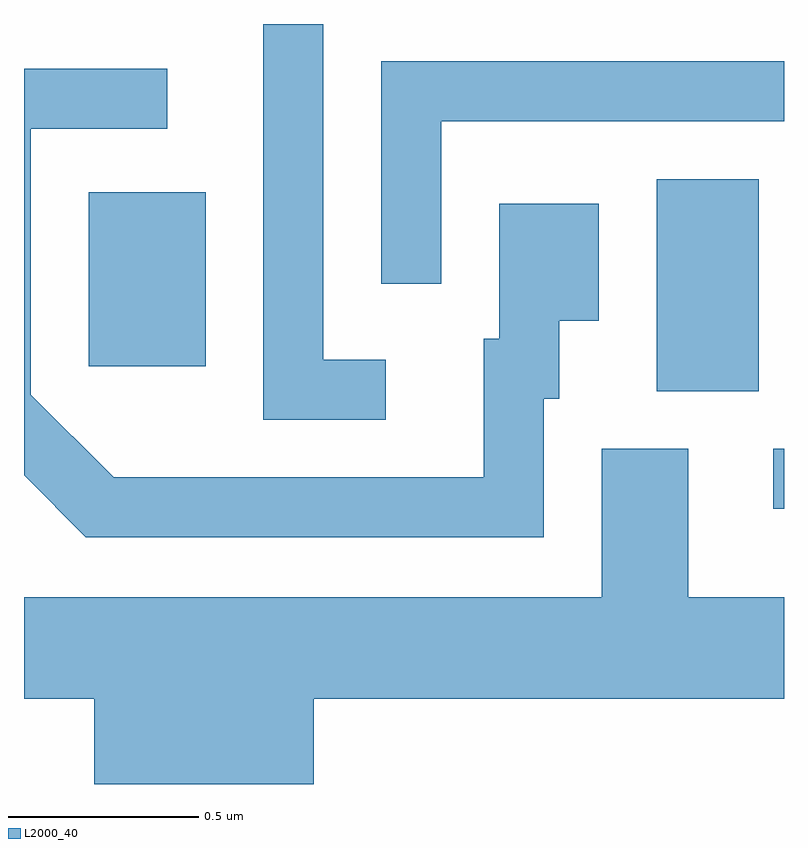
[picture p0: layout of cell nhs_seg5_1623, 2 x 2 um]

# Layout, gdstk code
import gdstk
lib = gdstk.Library(unit=1e-6, precision=1e-09)
def R(c, l, rs):  # rectangles x0, y0, x1, y1
    for r in rs: c.add(gdstk.rectangle(r[:2], r[2:], *l))
def P(c, l, *ps):  # polygons
    for p in ps: c.add(gdstk.Polygon(p, *l))
L2000_40 = (2000, 40)

nhs_seg5_1623 = lib.new_cell('nhs_seg5_1623')
R(nhs_seg5_1623, L2000_40, [(198.583,1512.796,198.611,1512.954), (198.276,1513.106,198.544,1513.664), (196.781,1513.171,197.089,1513.629)])
P(nhs_seg5_1623, L2000_40, [(197.563,1513.189),(197.399,1513.189),(197.399,1514.072),(197.241,1514.072),(197.241,1513.031),(197.563,1513.031)],
  [(197.709,1513.816),(198.611,1513.816),(198.611,1513.974),(197.551,1513.974),(197.551,1513.388),(197.709,1513.388)],
  [(197.979,1513.086),(198.019,1513.086),(198.019,1513.291),(198.124,1513.291),(198.124,1513.599),(197.861,1513.599),(197.861,1513.244),(197.821,1513.244),(197.821,1512.879),(196.847,1512.879),(196.629,1513.097),(196.629,1513.796),(196.988,1513.796),(196.988,1513.954),(196.611,1513.954),(196.611,1512.884),(196.774,1512.721),(197.979,1512.721)],
  [(197.374,1512.296),(198.611,1512.296),(198.611,1512.564),(198.359,1512.564),(198.359,1512.954),(198.131,1512.954),(198.131,1512.564),(196.611,1512.564),(196.611,1512.296),(196.796,1512.296),(196.796,1512.072),(197.374,1512.072)])

lib.write_gds('nhs_seg5_1623.gds')
